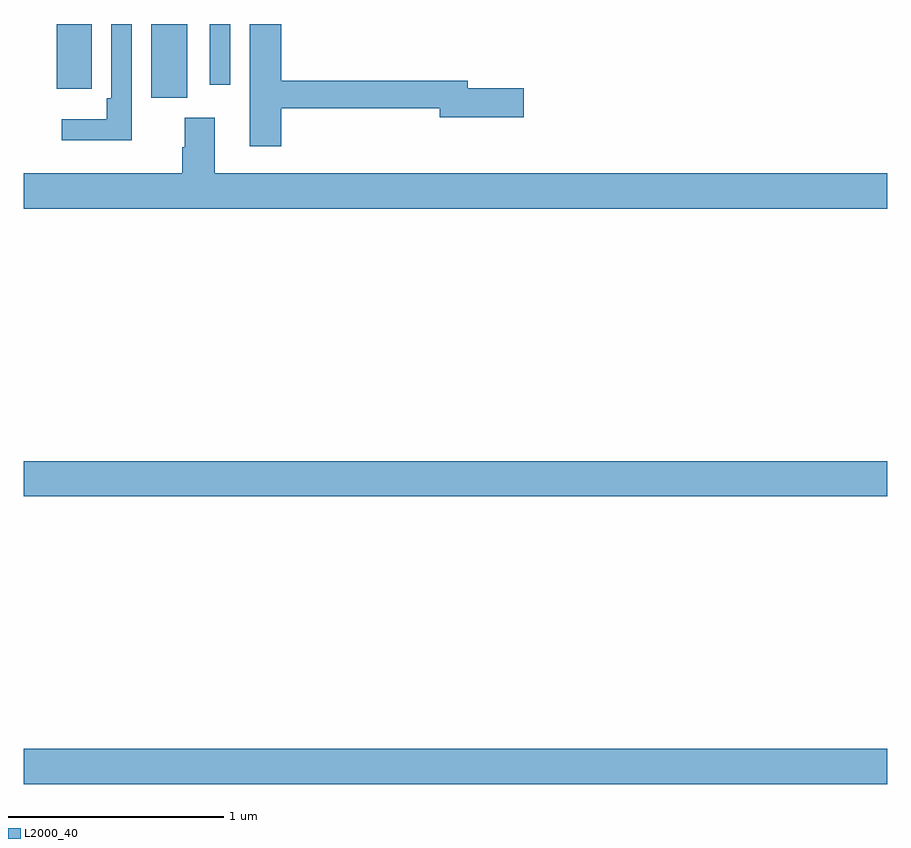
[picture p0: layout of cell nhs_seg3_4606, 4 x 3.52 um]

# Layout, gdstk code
import gdstk
lib = gdstk.Library(unit=1e-6, precision=1e-09)
def R(c, l, rs):  # rectangles x0, y0, x1, y1
    for r in rs: c.add(gdstk.rectangle(r[:2], r[2:], *l))
def P(c, l, *ps):  # polygons
    for p in ps: c.add(gdstk.Polygon(p, *l))
L2000_40 = (2000, 40)

nhs_seg3_4606 = lib.new_cell('nhs_seg3_4606')
R(nhs_seg3_4606, L2000_40, [(357,736.88,361,737.044), (357,738.212,361,738.376), (357.59,740.058,357.757,740.4), (357.152,740.099,357.316,740.4), (357.861,740.118,357.957,740.4)])
P(nhs_seg3_4606, L2000_40, [(357.501,740.4),(357.405,740.4),(357.405,740.056),(357.385,740.056),(357.385,739.96),(357.177,739.96),(357.177,739.862),(357.501,739.862)],
  [(358.193,740.01),(358.928,740.01),(358.928,739.967),(359.317,739.967),(359.317,740.102),(359.056,740.102),(359.056,740.138),(358.193,740.138),(358.193,740.4),(358.046,740.4),(358.046,739.833),(358.193,739.833)],
  [(361,739.708),(357.886,739.708),(357.886,739.966),(357.746,739.966),(357.746,739.829),(357.734,739.829),(357.734,739.708),(357,739.708),(357,739.544),(361,739.544)])

lib.write_gds('nhs_seg3_4606.gds')
